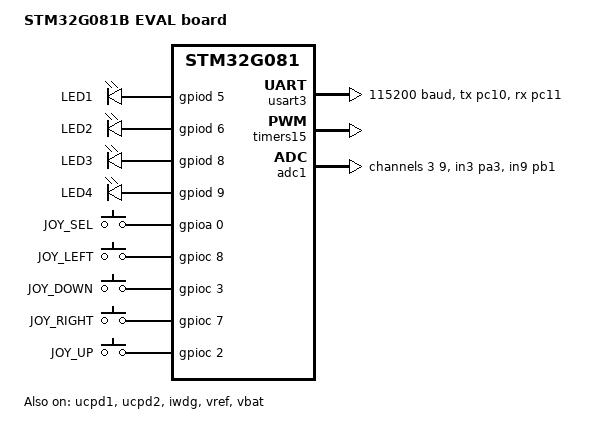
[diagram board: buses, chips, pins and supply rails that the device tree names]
/*
 * Copyright 2021 The Chromium OS Authors
 *
 * SPDX-License-Identifier: Apache-2.0
 */

/dts-v1/;
#include <st/g0/stm32g081Xb.dtsi>
#include <st/g0/stm32g081rbtx-pinctrl.dtsi>
#include <zephyr/dt-bindings/input/input-event-codes.h>

/ {
	model = "STM32G081B EVAL board";
	compatible = "st,stm32g081-eval";

	chosen {
		zephyr,console = &usart3;
		zephyr,shell-uart = &usart3;
		zephyr,sram = &sram0;
		zephyr,flash = &flash0;
	};

	leds {
		compatible = "gpio-leds";
		led_1: led1 {
			gpios = <&gpiod 5 GPIO_ACTIVE_HIGH>;
			label = "LED1";
		};
		led_2: led2 {
			gpios = <&gpiod 6 GPIO_ACTIVE_HIGH>;
			label = "LED2";
		};
		led_3: led3 {
			gpios = <&gpiod 8 GPIO_ACTIVE_HIGH>;
			label = "LED3";
		};
		led_4: led4 {
			gpios = <&gpiod 9 GPIO_ACTIVE_HIGH>;
			label = "LED4";
		};
	};

	gpio_keys {
		compatible = "gpio-keys";
		joy_sel: button0 {
			label = "JOY_SEL";
			gpios = <&gpioa 0 (GPIO_ACTIVE_HIGH | GPIO_PULL_DOWN)>;
			zephyr,code = <INPUT_KEY_ENTER>;
		};
		joy_left: button1 {
			label = "JOY_LEFT";
			gpios = <&gpioc 8 (GPIO_ACTIVE_HIGH | GPIO_PULL_DOWN)>;
			zephyr,code = <INPUT_KEY_LEFT>;
		};
		joy_down: button2 {
			label = "JOY_DOWN";
			gpios = <&gpioc 3 (GPIO_ACTIVE_HIGH | GPIO_PULL_DOWN)>;
			zephyr,code = <INPUT_KEY_DOWN>;
		};
		joy_right: button3 {
			label = "JOY_RIGHT";
			gpios = <&gpioc 7 (GPIO_ACTIVE_HIGH | GPIO_PULL_DOWN)>;
			zephyr,code = <INPUT_KEY_RIGHT>;
		};
		joy_up: button4 {
			label = "JOY_UP";
			gpios = <&gpioc 2 (GPIO_ACTIVE_HIGH | GPIO_PULL_DOWN)>;
			zephyr,code = <INPUT_KEY_UP>;
		};
	};

	aliases {
		led0 = &led_1;
		led1 = &led_2;
		led2 = &led_3;
		led3 = &led_4;
		sw0 = &joy_sel;
		sw1 = &joy_left;
		sw2 = &joy_down;
		sw3 = &joy_right;
		sw4 = &joy_up;
		watchdog0 = &iwdg;
		volt-sensor0 = &vref;
		volt-sensor1 = &vbat;
	};
};

&clk_hsi {
	status = "okay";
};

&pll {
	div-m = <1>;
	mul-n = <8>;
	div-p = <2>;
	div-q = <2>;
	div-r = <2>;
	clocks = <&clk_hsi>;
	status = "okay";
};

&rcc {
	clocks = <&pll>;
	clock-frequency = <DT_FREQ_M(64)>;
	ahb-prescaler = <1>;
	apb1-prescaler = <1>;
};

&usart3 {
	pinctrl-0 = <&usart3_tx_pc10 &usart3_rx_pc11>;
	pinctrl-names = "default";
	current-speed = <115200>;
	status = "okay";
};

&tim15_ch1_pc1 {
	slew-rate = "very-high-speed";
	bias-pull-up;
	drive-open-drain;
};

&timers15 {
	status = "okay";
	pwm15: pwm {
		status = "okay";
		pinctrl-0 = <&tim15_ch1_pc1>;
		pinctrl-names = "default";
	};
};

&adc1 {
	pinctrl-0 = <&adc1_in3_pa3 &adc1_in9_pb1>;
	pinctrl-names = "default";
	st,adc-clock-source = <SYNC>;
	st,adc-prescaler = <4>;
	status = "okay";

	#address-cells = <1>;
	#size-cells = <0>;

	channel@3 {
		reg = <3>;
		zephyr,gain = "ADC_GAIN_1";
		zephyr,reference = "ADC_REF_INTERNAL";
		zephyr,acquisition-time = <ADC_ACQ_TIME_DEFAULT>;
		zephyr,resolution = <12>;
		zephyr,vref-mv = <3300>;
	};

	channel@9 {
		reg = <9>;
		zephyr,gain = "ADC_GAIN_1";
		zephyr,reference = "ADC_REF_INTERNAL";
		zephyr,acquisition-time = <ADC_ACQ_TIME_DEFAULT>;
		zephyr,resolution = <12>;
		zephyr,vref-mv = <3300>;
	};
};

&ucpd1 {
	status = "okay";

	/*
	 * UCPD is fed directly from HSI which is @ 16MHz. The ucpd_clk goes to
	 * a prescaler who's output feeds the 'half-bit' divider which is used
	 * to generate clock for delay counters and BMC Rx/Tx blocks. The rx is
	 * designed to work in freq ranges of 6 <--> 18 MHz, however recommended
	 * range is 9 <--> 18 MHz.
	 *
	 *          +-------+ @ 16 MHz +-------+   @ ~600 kHz   +-----------+
	 * HSI ---->| /psc  |--------->| /hbit |--------------->| trans_cnt |
	 *          +-------+          +-------+   |            +-----------+
	 *                                         |            +-----------+
	 *                                         +----------->| ifrgap_cnt|
	 *                                                      +-----------+
	 * Requirements:
	 *   1. hbit_clk ~= 600 kHz: 16 MHz / 600 kHz = 26.67
	 *   2. tTransitionWindow - 12 to 20 uSec
	 *   3. tInterframGap - uSec
	 *
	 * hbit_clk = HSI_clk / 27 = 592.6 kHz = 1.687 uSec period
	 * tTransitionWindow = 1.687 uS * 8 = 13.5 uS
	 * tInterFrameGap = 1.687 uS * 17 = 28.68 uS
	 */
	psc-ucpdclk = <1>;
	hbitclkdiv = <27>;
	pinctrl-0 = <&ucpd1_cc1_pa8 &ucpd1_cc2_pb15>;
	pinctrl-names = "default";
};

&ucpd2 {
	status = "okay";

	/*
	 * UCPD is fed directly from HSI which is @ 16MHz. The ucpd_clk goes to
	 * a prescaler who's output feeds the 'half-bit' divider which is used
	 * to generate clock for delay counters and BMC Rx/Tx blocks. The rx is
	 * designed to work in freq ranges of 6 <--> 18 MHz, however recommended
	 * range is 9 <--> 18 MHz.
	 *
	 *          +-------+ @ 16 MHz +-------+   @ ~600 kHz   +-----------+
	 * HSI ---->| /psc  |--------->| /hbit |--------------->| trans_cnt |
	 *          +-------+          +-------+   |            +-----------+
	 *                                         |            +-----------+
	 *                                         +----------->| ifrgap_cnt|
	 *                                                      +-----------+
	 * Requirements:
	 *   1. hbit_clk ~= 600 kHz: 16 MHz / 600 kHz = 26.67
	 *   2. tTransitionWindow - 12 to 20 uSec
	 *   3. tInterframGap - uSec
	 *
	 * hbit_clk = HSI_clk / 27 = 592.6 kHz = 1.687 uSec period
	 * tTransitionWindow = 1.687 uS * 8 = 13.5 uS
	 * tInterFrameGap = 1.687 uS * 17 = 28.68 uS
	 */
	psc-ucpdclk = <1>;
	hbitclkdiv = <27>;
	pinctrl-0 = <&ucpd2_cc1_pd0 &ucpd2_cc2_pd2>;
	pinctrl-names = "default";
};

&iwdg {
	status = "okay";
};

&vref {
	status = "okay";
};

&vbat {
	status = "okay";
};
